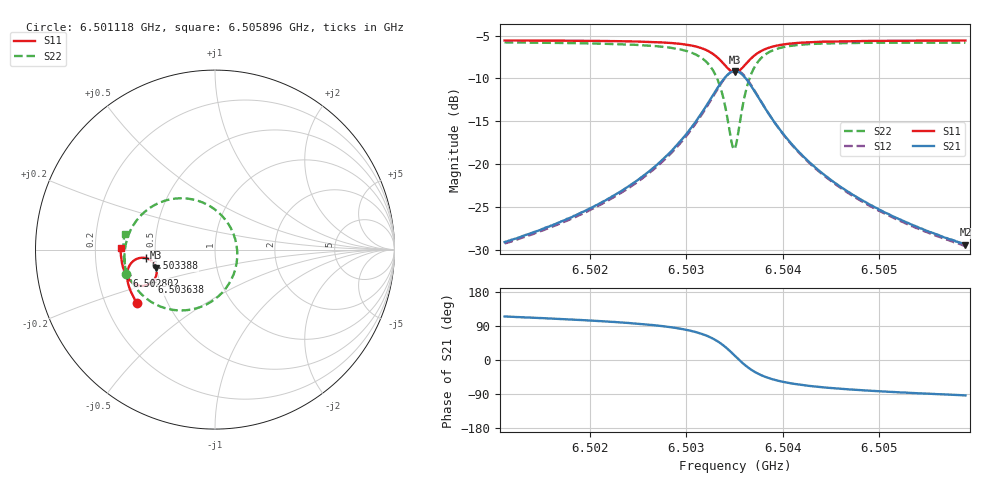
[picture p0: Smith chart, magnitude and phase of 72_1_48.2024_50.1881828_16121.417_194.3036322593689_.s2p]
#  HZ  S  RI  R  50.00
! Rohde & Schwarz Vector Network Analyzer
! Rohde-Schwarz,ZNB20-2Port,1311601062101988,3.16
! Created: UTC 3/20/2024, 11:39:12 AM
! freq[Hz]  re:S11  im:S11  re:S21  im:S21  re:S12  im:S12  re:S22  im:S22
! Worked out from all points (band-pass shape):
!   401 points, 6.501118 GHz to 6.505896 GHz, reference 50 ohm
!   highest |S21| = -9.14 dB at 6.503507 GHz (marker M1); lowest = -29.3 dB at 6.505896 GHz (marker M2)
!   |S21| within 3 dB of the highest: 6.503268 GHz to 6.503746 GHz (477.8 kHz wide, 0.00735 % of centre)
!   lowest |S11| = -9.3 dB at 6.503507 GHz (marker M3), VSWR 2.05, Z = 24.9 - j5.71 ohm
!   |S11| at or under -10 dB: nowhere
!   |S22| runs from -18.2 to -5.8 dB; largest |S21 - S12| = 0.012
!   S11 on the Smith chart (normalised r, x): 6.501118 GHz: 0.34, -0.28; 6.502802 GHz: 0.33, -0.13; 6.503388 GHz: 0.44, -0.05; 6.503638 GHz: 0.45, -0.20; 6.505896 GHz: 0.31, +0.01
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6.5011184e9  -0.4339 -0.2982  -0.0148 0.032  -0.013 0.0321  -0.4943 -0.1378
6.5019186e9  -0.4672 -0.2375  -0.0139 0.0508  -0.0114 0.0501  -0.5044 -0.0495
6.5023486e9  -0.4816 -0.1982  -0.0107 0.0704  -0.0076 0.0692  -0.4999 0.0145
6.5027188e9  -0.4897 -0.1557  -0.000907 0.1019  0.003 0.0995  -0.4773 0.0927
6.5028024e9  -0.4901 -0.144  0.00434 0.1127  0.00806 0.1096  -0.4663 0.1159
6.5030054e9  -0.4852 -0.11  0.0275 0.1483  0.0313 0.1436  -0.4175 0.1854
6.5031487e9  -0.4705 -0.0798  0.0664 0.1827  0.0692 0.1765  -0.3422 0.2451
6.5032921e9  -0.4312 -0.05  0.1508 0.2117  0.1515 0.2054  -0.1881 0.2859
6.5033876e9  -0.3831 -0.0477  0.2451 0.194  0.2452 0.1893  -0.0249 0.24
6.5034712e9  -0.3391 -0.0784  0.3253 0.1164  0.3278 0.1121  0.1031 0.0865
6.503507e9  -0.328 -0.1013  0.3429 0.066  0.3468 0.0602  0.1238 -0.00853
6.5035309e9  -0.3251 -0.1181  0.3463 0.0302  0.3504 0.0232  0.1206 -0.074
6.5035668e9  -0.3274 -0.143  0.3382 -0.0213  0.342 -0.0307  0.0914 -0.1658
6.5036384e9  -0.3505 -0.1812  0.2895 -0.0997  0.2893 -0.1116  -0.0236 -0.292
6.5036862e9  -0.3717 -0.1951  0.2482 -0.1289  0.2451 -0.1406  -0.1104 -0.329
6.5037459e9  -0.3973 -0.202  0.1997 -0.1455  0.194 -0.1556  -0.2058 -0.3386
6.5038892e9  -0.4429 -0.1941  0.1183 -0.1424  0.1107 -0.148  -0.3529 -0.2927
6.5040564e9  -0.4726 -0.1728  0.069 -0.1207  0.0624 -0.1232  -0.4327 -0.2237
6.5043072e9  -0.4953 -0.1415  0.0354 -0.0932  0.0302 -0.0935  -0.4812 -0.144
6.5046775e9  -0.5116 -0.1016  0.0152 -0.0677  0.0118 -0.0673  -0.5047 -0.0656
6.5051074e9  -0.5207 -0.0611  0.00541 -0.0508  0.00302 -0.05  -0.5107 -0.00181
6.5058957e9  -0.526 0.00651  -0.00203 -0.0341  -0.00333 -0.0332  -0.5037 0.0847
